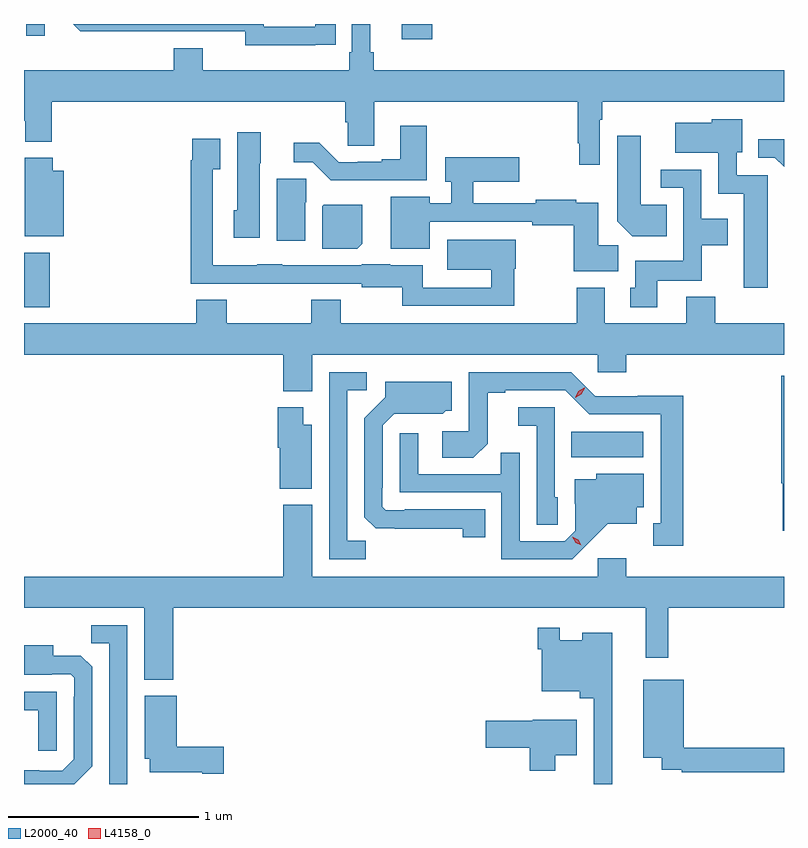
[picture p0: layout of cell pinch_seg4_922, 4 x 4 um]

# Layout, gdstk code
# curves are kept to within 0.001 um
import gdstk
lib = gdstk.Library(unit=1e-6, precision=1e-09)
def R(c, l, rs):  # rectangles x0, y0, x1, y1
    for r in rs: c.add(gdstk.rectangle(r[:2], r[2:], *l))
def P(c, l, *ps):  # polygons
    for p in ps: c.add(gdstk.Polygon(p, *l))
L2000_40 = (2000, 40)
L4158_0 = (4158, 0)

pinch_seg4_922 = lib.new_cell('pinch_seg4_922')
R(pinch_seg4_922, L2000_40, [(663.508,800.276,663.889,800.41), (660.629,801.066,660.764,801.351), (662.618,802.476,662.777,802.556), (660.641,802.494,660.738,802.556)])
P(pinch_seg4_922, L2000_40, [(663.66,802.052),(663.673,802.052),(663.673,802.148),(664.629,802.148),(664.629,802.312),(662.471,802.312),(662.471,802.408),(662.452,802.408),(662.452,802.556),(662.355,802.556),(662.355,802.408),(662.342,802.408),(662.342,802.312),(661.57,802.312),(661.57,802.429),(661.418,802.429),(661.418,802.312),(660.629,802.312),(660.629,802.047),(660.635,802.047),(660.635,801.937),(660.776,801.937),(660.776,802.148),(662.321,802.148),(662.321,802.038),(662.334,802.038),(662.334,801.916),(662.473,801.916),(662.473,802.148),(663.544,802.148),(663.544,801.928),(663.552,801.928),(663.552,801.816),(663.66,801.816)],
  [(662.162,802.446),(662.27,802.446),(662.27,802.556),(662.162,802.556),(662.162,802.542),(661.89,802.542),(661.89,802.556),(660.887,802.556),(660.926,802.517),(661.794,802.518),(661.794,802.445)],
  [(664.543,801.759),(664.38,801.759),(664.38,801.882),(664.408,801.882),(664.408,802.054),(664.248,802.054),(664.248,802.036),(664.056,802.036),(664.056,801.878),(664.284,801.878),(664.284,801.662),(664.418,801.662),(664.418,801.168),(664.543,801.168)],
  [(662.749,802.021),(662.609,802.021),(662.609,801.844),(662.513,801.844),(662.513,801.831),(662.386,801.831),(662.386,801.828),(662.286,801.828),(662.184,801.931),(662.049,801.931),(662.049,801.828),(662.148,801.828),(662.243,801.734),(662.749,801.734)],
  [(661.87,801.822),(661.876,801.822),(661.876,801.985),(661.751,801.985),(661.751,801.576),(661.733,801.576),(661.733,801.432),(661.87,801.432)],
  [(664.013,801.604),(663.874,801.604),(663.874,801.967),(663.752,801.967),(663.752,801.518),(663.83,801.44),(664.013,801.44)],
  [(663.208,801.267),(663.216,801.267),(663.216,801.421),(662.856,801.421),(662.856,801.263),(663.087,801.263),(663.087,801.168),(662.727,801.168),(662.727,801.286),(662.556,801.286),(662.556,801.292),(662.406,801.292),(662.406,801.285),(661.989,801.285),(661.989,801.292),(661.857,801.292),(661.857,801.286),(661.623,801.286),(661.623,801.791),(661.663,801.791),(661.663,801.952),(661.515,801.952),(661.515,801.839),(661.507,801.839),(661.507,801.189),(661.757,801.189),(661.757,801.188),(661.989,801.188),(661.989,801.189),(662.406,801.189),(662.406,801.17),(662.619,801.17),(662.619,801.072),(663.208,801.072)],
  [(664.629,801.949),(664.493,801.949),(664.493,801.852),(664.581,801.852),(664.629,801.805)],
  [(663.757,801.392),(663.652,801.392),(663.652,801.614),(663.536,801.614),(663.536,801.632),(663.322,801.632),(663.322,801.612),(662.993,801.612),(662.993,801.725),(663.235,801.725),(663.235,801.855),(662.846,801.855),(662.846,801.725),(662.877,801.725),(662.877,801.612),(662.764,801.612),(662.764,801.646),(662.558,801.646),(662.558,801.374),(662.764,801.374),(662.764,801.516),(663.304,801.516),(663.304,801.496),(663.523,801.496),(663.523,801.254),(663.757,801.254)],
  [(660.838,801.784),(660.779,801.784),(660.779,801.852),(660.632,801.852),(660.632,801.44),(660.838,801.44)],
  [(663.961,801.206),(664.197,801.206),(664.197,801.392),(664.333,801.392),(664.333,801.532),(664.194,801.532),(664.194,801.789),(663.981,801.789),(663.981,801.693),(664.098,801.693),(664.098,801.31),(663.845,801.31),(663.845,801.168),(663.821,801.168),(663.821,801.066),(663.961,801.066)],
  [(662.11,801.618),(662.114,801.618),(662.114,801.741),(661.958,801.741),(661.958,801.414),(662.11,801.414)],
  [(662.41,801.4),(662.41,801.604),(662.206,801.604),(662.198,801.596),(662.198,801.374),(662.384,801.374)],
  [(662.146,800.816),(663.648,800.816),(663.648,800.723),(663.8,800.723),(663.8,800.816),(664.629,800.816),(664.629,800.98),(664.268,800.98),(664.268,801.121),(664.115,801.121),(664.115,800.98),(663.685,800.98),(663.685,801.169),(663.538,801.169),(663.538,800.98),(662.295,800.98),(662.295,801.104),(662.14,801.104),(662.14,800.98),(661.695,800.98),(661.695,801.104),(661.535,801.104),(661.535,800.98),(660.629,800.98),(660.629,800.816),(661.994,800.816),(661.994,800.624),(662.146,800.624)],
  [(664.099,800.6),(663.858,800.6),(663.858,800.598),(663.636,800.598),(663.51,800.724),(662.97,800.724),(662.97,800.412),(662.829,800.412),(662.829,800.272),(662.993,800.272),(663.069,800.348),(663.069,800.616),(663.163,800.616),(663.163,800.628),(663.477,800.628),(663.603,800.502),(663.98,800.502),(663.98,799.929),(663.941,799.929),(663.941,799.809),(664.099,799.809)],
  [(662.427,799.835),(662.331,799.835),(662.331,800.628),(662.434,800.628),(662.434,800.724),(662.235,800.724),(662.235,799.74),(662.427,799.74)],
  [(664.629,800.706),(664.615,800.706),(664.615,800.138),(664.622,800.138),(664.622,799.89),(664.629,799.89)],
  [(663.056,800.001),(662.632,800.001),(662.632,799.998),(662.532,799.998),(662.514,800.016),(662.514,800.116),(662.517,800.116),(662.517,800.445),(662.577,800.505),(662.834,800.504),(662.85,800.52),(662.881,800.52),(662.881,800.674),(662.531,800.674),(662.531,800.592),(662.421,800.482),(662.421,799.96),(662.48,799.901),(662.938,799.9),(662.938,799.854),(663.056,799.854)],
  [(662.143,800.446),(662.098,800.446),(662.098,800.539),(661.964,800.539),(661.964,800.325),(661.976,800.325),(661.976,800.111),(662.143,800.111)],
  [(663.438,800.064),(663.423,800.064),(663.423,800.538),(663.231,800.538),(663.231,800.441),(663.327,800.441),(663.327,799.921),(663.438,799.921)],
  [(663.598,799.823),(663.701,799.925),(663.853,799.925),(663.853,800.012),(663.892,800.012),(663.892,800.188),(663.642,800.188),(663.642,800.161),(663.527,800.161),(663.527,800.032),(663.531,800.032),(663.531,799.89),(663.474,799.833),(663.237,799.833),(663.237,800.3),(663.139,800.3),(663.139,800.187),(662.703,800.187),(662.703,800.401),(662.607,800.401),(662.607,800.091),(663.141,800.091),(663.141,799.74),(663.514,799.74)],
  [(661.415,799.484),(663.902,799.484),(663.902,799.221),(664.019,799.221),(664.019,799.484),(664.629,799.484),(664.629,799.648),(663.8,799.648),(663.8,799.744),(663.648,799.744),(663.648,799.648),(662.146,799.648),(662.146,800.026),(661.994,800.026),(661.994,799.648),(660.629,799.648),(660.629,799.484),(661.262,799.484),(661.262,799.106),(661.415,799.106)],
  [(661.173,799.392),(660.982,799.392),(660.982,799.297),(661.077,799.297),(661.077,798.556),(661.173,798.556)],
  [(663.724,799.351),(663.566,799.351),(663.566,799.312),(663.45,799.312),(663.45,799.378),(663.334,799.378),(663.334,799.265),(663.354,799.265),(663.354,799.043),(663.554,799.043),(663.554,799.007),(663.627,799.007),(663.627,798.556),(663.724,798.556)],
  [(660.895,798.557),(660.987,798.65),(660.987,799.172),(660.928,799.231),(660.784,799.231),(660.784,799.285),(660.629,799.285),(660.629,799.13),(660.776,799.13),(660.776,799.134),(660.876,799.134),(660.894,799.116),(660.894,799.016),(660.891,799.016),(660.891,798.687),(660.831,798.627),(660.629,798.628),(660.629,798.556)],
  [(664.629,798.746),(664.102,798.746),(664.102,799.105),(663.887,799.105),(663.887,798.695),(663.986,798.695),(663.986,798.63),(664.09,798.63),(664.09,798.618),(664.629,798.618)],
  [(660.801,799.041),(660.629,799.041),(660.629,798.945),(660.705,798.945),(660.705,798.732),(660.801,798.732)],
  [(661.681,798.752),(661.432,798.752),(661.432,799.021),(661.265,799.021),(661.265,798.69),(661.292,798.69),(661.292,798.617),(661.568,798.617),(661.568,798.61),(661.681,798.61)],
  [(663.424,798.707),(663.538,798.707),(663.538,798.895),(663.306,798.895),(663.306,798.89),(663.06,798.89),(663.06,798.748),(663.29,798.748),(663.29,798.626),(663.424,798.626)])
P(pinch_seg4_922, L4158_0, [(663.563,799.812),(663.532,799.827),(663.514,799.857),(663.514,799.857),(663.514,799.857),(663.545,799.842),(663.563,799.813),(663.563,799.812)],
  [(663.53,800.588),(663.53,800.589),(663.547,800.622),(663.578,800.641),(663.579,800.641),(663.579,800.64),(663.561,800.608),(663.53,800.588)])

lib.write_gds('pinch_seg4_922.gds')
